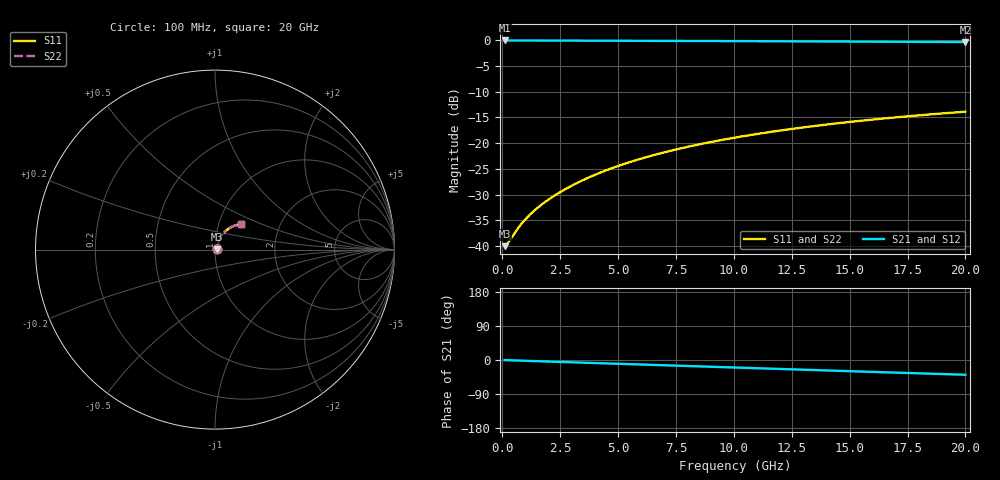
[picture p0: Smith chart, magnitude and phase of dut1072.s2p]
! Touchstone file exported from HFSS 2026.1.0
!  File:  C:/ffzhzh/LocalFiles/Ansys_Project_Files/temp_train_BSMRDL_1072_1783174276_22436.aedt
!  Generated:  10:12:22 PM Jul  4, 2026
!  Design:  BSMRDL
!  Project:  temp_train_BSMRDL_1072_1783174276_22436
! Variables:
!  h_bsmrdl = 2.14um
!  h_ox = 20um
!  h_rdl = 5um
!  h_sub = 80um
!  h_tmrdl = 5um
!  h_tsv = 80um
!  h_via = 3um
!  l_bsmrdl = 677.08um
!  l_sub = 1077.08um
!  l_tmrdl = 200um
!  m_sub = 200um
!  pitch = 16.73um
!  r_tsv = 6um
!  s_tmrdl = 10um
!  w_bsmrdl = 11.36um
!  w_sub = 500um
!  w_tmrdl = 12um
!  x_tsv_center1 = 206um
!  x_tsv_center2 = 894.44um
!  x_tsv_center3 = 1106.44um
!  x_tsv_center4 = 1794.88um
!  x_tsv_center5 = 2006.88um
!  x_tsv_center6 = 2695.32um
# GHz S MA R 50.000000
! Terminal data exported
! Port[1] = BSM_RDL1_1_T1
! Port[2] = BSM_RDL1_1_T2
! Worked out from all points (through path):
!   200 points, 100 MHz to 20 GHz, reference 50 ohm
!   highest |S21| = -0.09 dB at 100 MHz (marker M1); lowest = -0.4 dB at 20 GHz (marker M2)
!   group delay of S21, straight-line fit = 5.4 ps
!   lowest |S11| = -40.0 dB at 100 MHz (marker M3), VSWR 1.02, Z = 51 + j0.157 ohm
!   |S11| at or under -10 dB: start of sweep to end of sweep
!   |S22| runs from -40.0 to -13.9 dB; largest |S21 - S12| = 3.6e-15
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0.1  0.009982 8.9  0.9901 -0.2  0.9901 -0.2  0.009982 8.9
! Gamma 0 0 0 0
! Port Impedance 50 0 50 0
0.2  0.01045 17.0  0.99 -0.4  0.99 -0.4  0.01045 17.0
0.3  0.01116 23.9  0.9898 -0.7  0.9898 -0.7  0.01116 23.9
0.7  0.0151 40.7  0.9888 -1.5  0.9888 -1.5  0.0151 40.7
0.9  0.0172 45.2  0.9882 -1.9  0.9882 -1.9  0.0172 45.2
1.2  0.02028 50.0  0.9875 -2.5  0.9875 -2.5  0.02028 50.0
1.5  0.02329 53.4  0.987 -3.1  0.987 -3.1  0.02329 53.4
1.9  0.0273 56.9  0.9864 -3.9  0.9864 -3.9  0.0273 56.9
2.4  0.03237 60.0  0.9858 -4.9  0.9858 -4.9  0.03237 60.0
2.9  0.03754 62.1  0.9854 -5.9  0.9854 -5.9  0.03754 62.1
3.5  0.04385 63.8  0.9848 -7.1  0.9848 -7.1  0.04386 63.8
4.2  0.05131 64.9  0.9841 -8.5  0.9841 -8.5  0.05132 64.9
5  0.0599 65.4  0.9832 -10.1  0.9832 -10.1  0.05992 65.4
5.9  0.06957 65.4  0.9822 -11.8  0.9822 -11.8  0.06959 65.3
6.8  0.07919 64.8  0.981 -13.6  0.981 -13.6  0.07922 64.8
8.4  0.09605 63.3  0.9787 -16.8  0.9787 -16.8  0.09609 63.2
10.1  0.1135 61.0  0.9758 -20.1  0.9758 -20.1  0.1136 60.9
11.7  0.1294 58.6  0.9729 -23.2  0.9729 -23.2  0.1295 58.5
13.4  0.1456 55.9  0.9695 -26.5  0.9695 -26.5  0.1457 55.7
15  0.1603 53.2  0.9662 -29.5  0.9662 -29.5  0.1604 53.0
16.7  0.1751 50.3  0.9626 -32.8  0.9626 -32.8  0.1752 50.1
20  0.2016 44.6  0.9556 -38.9  0.9556 -38.9  0.2017 44.4
